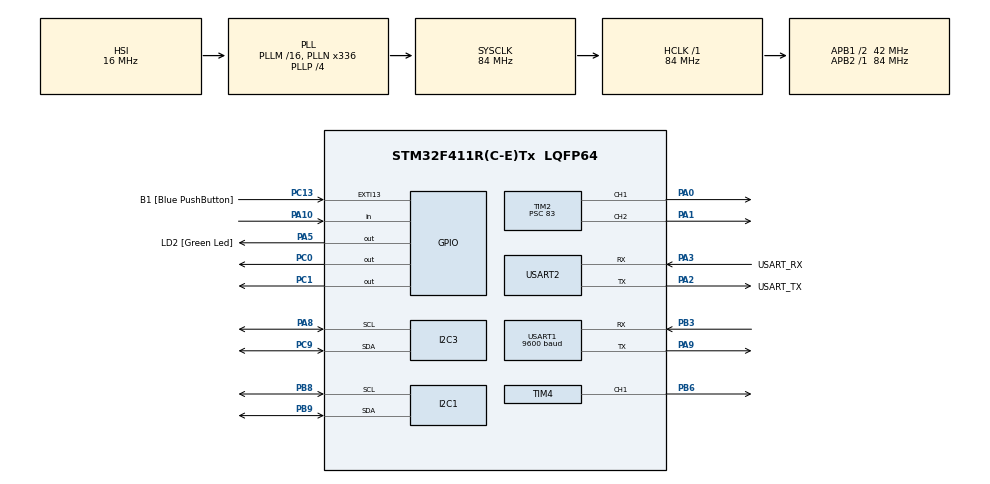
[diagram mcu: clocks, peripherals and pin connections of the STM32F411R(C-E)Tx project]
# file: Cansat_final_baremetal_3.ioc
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Mcu.Family=STM32F4
Mcu.Name=STM32F411R(C-E)Tx
Mcu.Package=LQFP64
NVIC.I2C1_EV_IRQn=true\:0\:0\:false\:false\:true\:true\:true\:true
NVIC.PriorityGroup=NVIC_PRIORITYGROUP_0
NVIC.TIM3_IRQn=true\:0\:0\:false\:false\:true\:true\:true\:true
NVIC.USART1_IRQn=true\:0\:0\:false\:false\:true\:true\:true\:true
PA0-WKUP.Signal=S_TIM2_CH1_ETR
PA1.Signal=S_TIM2_CH2
PA10.Signal=GPIO_Input
PA13.GPIO_Label=TMS
PA13.Mode=Serial_Wire
PA13.Signal=SYS_JTMS-SWDIO
PA14.GPIO_Label=TCK
PA14.Mode=Serial_Wire
PA14.Signal=SYS_JTCK-SWCLK
PA2.GPIO_Label=USART_TX
PA2.Mode=Asynchronous
PA2.Signal=USART2_TX
PA3.GPIO_Label=USART_RX
PA3.Mode=Asynchronous
PA3.Signal=USART2_RX
PA5.GPIO_Label=LD2 [Green Led]
PA5.Signal=GPIO_Output
PA8.Mode=I2C
PA8.Signal=I2C3_SCL
PA9.Mode=Asynchronous
PA9.Signal=USART1_TX
PB3.Mode=Asynchronous
PB3.Signal=USART1_RX
PB6.Signal=S_TIM4_CH1
PB8.Mode=I2C
PB8.Signal=I2C1_SCL
PB9.Mode=I2C
PB9.Signal=I2C1_SDA
PC0.Signal=GPIO_Output
PC1.Signal=GPIO_Output
PC13-ANTI_TAMP.GPIO_Label=B1 [Blue PushButton]
PC13-ANTI_TAMP.GPIO_ModeDefaultEXTI=GPIO_MODE_IT_FALLING
PC13-ANTI_TAMP.Signal=GPXTI13
PC14-OSC32_IN.Mode=LSE-External-Oscillator
PC14-OSC32_IN.Signal=RCC_OSC32_IN
PC15-OSC32_OUT.Mode=LSE-External-Oscillator
PC15-OSC32_OUT.Signal=RCC_OSC32_OUT
PC9.Mode=I2C
PC9.Signal=I2C3_SDA
PH0\ -\ OSC_IN.Mode=HSE-External-Clock-Source
PH0\ -\ OSC_IN.Signal=RCC_OSC_IN
PH1\ -\ OSC_OUT.Mode=HSE-External-Clock-Source
PH1\ -\ OSC_OUT.Signal=RCC_OSC_OUT
ProjectManager.HeapSize=0x200
ProjectManager.StackSize=0x400
ProjectManager.TargetToolchain=STM32CubeIDE
RCC.48MHZClocksFreq_Value=84000000
RCC.AHBFreq_Value=84000000
RCC.APB1CLKDivider=RCC_HCLK_DIV2
RCC.APB1Freq_Value=42000000
RCC.APB1TimFreq_Value=84000000
RCC.APB2Freq_Value=84000000
RCC.APB2TimFreq_Value=84000000
RCC.CortexFreq_Value=84000000
RCC.FLatency-AdvancedSettings=FLASH_LATENCY_2
RCC.HCLKFreq_Value=84000000
RCC.HSE_VALUE=8000000
RCC.HSI_VALUE=16000000
RCC.PLLN=336
RCC.PLLP=RCC_PLLP_DIV4
RCC.SYSCLKFreq_VALUE=84000000
RCC.SYSCLKSource=RCC_SYSCLKSOURCE_PLLCLK
RCC.VCOOutputFreq_Value=336000000
SH.S_TIM2_CH1_ETR.0=TIM2_CH1,PWM Generation1 CH1
SH.S_TIM2_CH2.0=TIM2_CH2,PWM Generation2 CH2
SH.S_TIM4_CH1.0=TIM4_CH1,PWM Generation1 CH1
TIM2.Channel-PWM\ Generation1\ CH1=TIM_CHANNEL_1
TIM2.Channel-PWM\ Generation2\ CH2=TIM_CHANNEL_2
TIM2.Period=9999
TIM2.Prescaler=83
TIM3.Period=20999
TIM3.Prescaler=3999
TIM4.Channel-PWM\ Generation1\ CH1=TIM_CHANNEL_1
TIM4.Period=19999
TIM4.Prescaler=83
USART1.BaudRate=9600
USART1.VirtualMode=VM_ASYNC
USART2.VirtualMode=VM_ASYNC
VP_TIM2_VS_ClockSourceINT.Mode=Internal
VP_TIM3_VS_ClockSourceINT.Mode=Internal
VP_TIM4_VS_ClockSourceINT.Mode=Internal
board=NUCLEO-F411RE

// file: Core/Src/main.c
/* USER CODE BEGIN Header */
/**
  ******************************************************************************
  * @file           : main.c
  * @brief          : Main program body
  ******************************************************************************
  * @attention
  *
  * Copyright (c) 2023 STMicroelectronics.
  * All rights reserved.
  *
  * This software is licensed under terms that can be found in the LICENSE file
  * in the root directory of this software component.
  * If no LICENSE file comes with this software, it is provided AS-IS.
  *
  ******************************************************************************
  */
/* USER CODE END Header */
#include "main.h"
#include "i2c.h"
#include "tim.h"
#include "usart.h"
#include "gpio.h"

/* USER CODE BEGIN Includes */
#include "Const.h"
#include "stdio.h"
#include <math.h>
#include "IMU_10DOF.h"
#include "data.h"
#include "types.h"
#include "servo.h"
#include "gps.h"
#include "pololu_sds01a.h"
#include "compass.h"
#include "stdlib.h"
#include "string.h"
#include "bmp280.h"

/* USER CODE END Includes */

/* USER CODE BEGIN PV */

/******* incrément pour le mouvement *********/

int increment_positionning = 0;

/******* Data structure *******/
TypeDataCansat pDataCansat;
/******************************/

/******* GPS ********/

/*
char uart_gps_rx[1];
char uart_pc_tx[1];
char coordonnees[GPS_TRAME_SIZE];

uint8_t it_rx_gps=0;
int first_data = 0;
int data_rdy = 0;
int i = 0;
*/

char uart_gps_rx[1];
char uart_pc_tx[1];
uint8_t it_rx_gps=0;

char coordonnees[GPS_TRAME_SIZE];
char longitude_data[10];
char latitude_data[10];
char altitude_data[5];
char position[49];
char lat2[2];
char lat7[7];
char long3[3];
char long7[7];
double lata;
double latb;
double latitude;
double longitude;
double altitude;

char satellites[2];

int i = 0;
int k = 0;

int first_data = 0;
int data_rdy = 0;
char uart_tx_buffer[128];
/********************/

/******* flag *******/
int flag_ballon = 0;
/********************/

/******* bmp280 *******/
uint8_t pData_bmp280[32] = {0};
uint8_t pTemp_bmp_280[5] = {0};
uint8_t pPress_bmp280[5] = {0};
uint32_t PressRaw_bmp280 = 0;
uint32_t TempRaw_bmp280 = 0;
int i_bmp280=0;

uint32_t pression_comp[1] = {0};

/********************/

/******* variable d'état *******/
OUTCOME result = FAIL;
TypeState Cansat_state = OFF;
TypeStage Cansat_stage = FLOOR;
/*******************************/

/* USER CODE END PV */

void SystemClock_Config(void);

/* USER CODE BEGIN 0 */

int __io_putchar(int ch) {
HAL_UART_Transmit(&huart2, (uint8_t *)&ch, 1, HAL_MAX_DELAY);
return ch;
}

void HAL_UART_RxCpltCallback(UART_HandleTypeDef *huart){ // fonction de callback de l'UART

	if(huart == &huart1){

		it_rx_gps = 1;
		HAL_UART_Receive_IT(&huart1, (uint8_t *)&uart_gps_rx, 1);

	}

}

/* USER CODE END 0 */

int main(void)
{

  /* MCU Configuration--------------------------------------------------------*/

  /* Reset of all peripherals, Initializes the Flash interface and the Systick. */
  HAL_Init();

  /* Configure the system clock */
  SystemClock_Config();

  /* Initialize all configured peripherals */
  MX_GPIO_Init();
  MX_USART2_UART_Init();
  MX_I2C1_Init();
  MX_TIM2_Init();
  MX_TIM3_Init();
  MX_TIM4_Init();
  MX_USART1_UART_Init();
  MX_I2C3_Init();
  /* USER CODE BEGIN 2 */

  printf("------------------------\r\n");
  printf("------------------------\r\n");
  printf("------------------------\r\n");
  printf("------------------------\r\n");
  printf("initialisation du CanSat\r\n");
  printf("------------------------\r\n");
  printf("------------------------\r\n");
  printf("------------------------\r\n");
  printf("------------------------\r\n");

    int x=0;
    int i=0;
    int Devices[100]={0};

   uint8_t pData[100] = {0};

   /**********                           *********
    * ******** INIT MPU-9250 (IMU_10DOF) *********
    * ********                           *********
    */

   printf("initialisation de l'IMU \r\n \r\n");

   // Initialisation du capteur MPU-9250

   Init(&hi2c1);

   // vérification identité capteur MPU-9250

   pData[0]= WHO_AM_I_MPU9250;
    if(HAL_I2C_Master_Transmit(&hi2c1, MPU_ADD, pData, 1, HAL_MAX_DELAY) != HAL_OK )
    {
  	  printf("il y a une erreur avec I2C Master Transmit \r\n");
  	  result = FAIL;
    }
    if(HAL_I2C_Master_Receive(&hi2c1, MPU_ADD, pData, 1, HAL_MAX_DELAY) != HAL_OK )
    {
  	  printf("il y a une erreur avec I2C Master Receive \r\n");
  	  result = FAIL;
    }

    printf(" L'identifiant du capteur est : %x \r\n", pData[0]);
    if((pData[0] =! 0x71))
    {
  	  printf("ce n'est pas le bon capteur \r\n");
  	  result = FAIL;
    }
    else
    {
  	  printf("MPU-9250 identified \r\n");
  	  result = PASS;
    }

    // vérification identité AK8963C (magnétomètre)

    pData[0]= WHO_AM_I_AK8963;
      if(HAL_I2C_Master_Transmit(&hi2c1, MAGNETO_ADD, pData, 1, HAL_MAX_DELAY) != HAL_OK )
      {
    	  printf("il y a une erreur avec I2C Master Transmit \r\n");
    	  result = FAIL;
      }
      if(HAL_I2C_Master_Receive(&hi2c1, MAGNETO_ADD, pData, 1, HAL_MAX_DELAY) != HAL_OK )
      {
    	  printf("il y a une erreur avec I2C Master Receive \r\n");
    	  result = FAIL;
      }

      printf(" L'identifiant du magnétomètre est : %x \r\n", pData[0]);
      if((pData[0] =! 0x48))
      {
    	  printf("ce n'est pas le bon capteur \r\n  ****** \r\n ****** \r\n ****** \r\n");
    	  result = FAIL;
      }
      else
      {
    	  printf("AK8963C identified \r\n  ****** \r\n ****** \r\n ****** \r\n");
    	  result = PASS;
      }

  // check les périphériques i2c disponibles

    for (i=0;i<256;i++){
         	  if(HAL_I2C_IsDeviceReady(&hi2c1, i, 4, 20)==HAL_OK){
         		  Devices[x]=i;
         		  printf("%d \r\n",Devices[x]);
         		  x=x+1;
         	  }

           }

    /*********** Calibration du magnétomètre *************/
 /*
    printf("debut de la calibration : faire des 8 \r\n");
    HAL_Delay(2000);
    printf("calibration du magnetometre en cours... \r\n");
    Calib_mag(&hi2c1, mag_offset, mag_coeff);
    printf("calibration du magnetometre terminee \r\n *\r\n *\r\n *\r\n");
    HAL_Delay(2000);
 */

    /**********                    *********
     * ******** INITIALISATION GPS *********
     * ********                    *********
     */

    /***********************************************************
    *            entrée des données GPS de la cible
    ***********************************************************/

    //Position GPS cible : 43°13'18.7"N 0°03'10.0"W  --> données telles que décrites dans le règlement 2023

     pDataCansat.GPS.latitude_Target = 45.066664;
     pDataCansat.GPS.longitude_Target = -1.04223;

     /**********                       *********
      * ******** INITIALISATION BMP280 *********
      * ********                       *********
      */

     double Cansat_altitude = 652.0; //altitude du cansat calculée à partir de la pression
     pData_bmp280[0] = REG_ID;

     //SENSOR ADDRESS ACQUISITION

        HAL_I2C_Master_Transmit(&hi2c1, ADDRESS_BMP, pData_bmp280, 1, HAL_MAX_DELAY);
       	HAL_I2C_Master_Receive(&hi2c1, ADDRESS_BMP, pData_bmp280, 1, HAL_MAX_DELAY);

       	if(pData_bmp280[0] == VAL_ID)
       	{
       		printf("%x \r\n", pData_bmp280[0]);
       		printf("bmp280 address valid \r\n");
       	}
       	else
       	{
       		printf("bmp280 bad address \r\n");
       		result = FAIL;
       		//Error_Handler();
       		//allumer la led rouge de l'initialisation loupée
       	}

       	//SENSOR CONFIGURATION

       	  	pData_bmp280[0]=ADDRESS_CTRL_MEAS;
       	  	pData_bmp280[1]=MEASURING_CONFIG;

       	  	if(HAL_I2C_Master_Transmit(&hi2c1, ADDRESS_BMP, pData_bmp280, 2, HAL_MAX_DELAY) != HAL_OK)
       	  	{
       	  		printf("error bmp280 configuration \r\n");
       	  		result = FAIL;
       	  	}
       	  	else
       	  		result = PASS;

    /**********                              *********
     * ******** INITIALISATION Pololu_sds01a *********
     * ********                              *********
     */

    uint16_t gpio_value = 0;
    int Drop_flag = 0; // flag that indicates if the Cansat probe has been launch, in order to begin the missions

    /**********                      		     		  *********
     * ******** INITIALISATION Servos structure gonflable *********
     * ********                       		              *********
     */

    /**********                      		    *********
     * ******** INITIALISATION Servos direction *********
     * ********                       		    *********
     */

    int deploiement_bras_flag = 1;
    int altitude_ouverture_ballons = 15; // altitude à partir de laquelle on démarre l'opération
    									 // d'ouverture de la structure gonflable
    									 // à déterminer expérimentalement --> prendre en compte l'altitude locale
    int altitude_au_sol = 790; // ?? à vérifier

    HAL_TIM_PWM_Start(&htim2, TIM_CHANNEL_1);
    HAL_TIM_PWM_Start(&htim2, TIM_CHANNEL_2);

    HAL_Delay(500);

    // Protocole de test des servos

    //servo droit
    __HAL_TIM_SET_COMPARE(&htim2, TIM_CHANNEL_1, 400);
    HAL_Delay(2000);

    __HAL_TIM_SET_COMPARE(&htim2, TIM_CHANNEL_1, 600);
    HAL_Delay(2000);

    __HAL_TIM_SET_COMPARE(&htim2, TIM_CHANNEL_1, 1000);
    HAL_Delay(2000);

    __HAL_TIM_SET_COMPARE(&htim2, TIM_CHANNEL_1, 1500);
    HAL_Delay(2000);

    //servo gauche
	__HAL_TIM_SET_COMPARE(&htim2, TIM_CHANNEL_2, 2600);
	HAL_Delay(2000);

    __HAL_TIM_SET_COMPARE(&htim2, TIM_CHANNEL_2, 2400);
	HAL_Delay(2000);

	__HAL_TIM_SET_COMPARE(&htim2, TIM_CHANNEL_2, 2000);
	HAL_Delay(2000);

	__HAL_TIM_SET_COMPARE(&htim2, TIM_CHANNEL_2, 1500);
	HAL_Delay(2000);

    //repliement du bras pour pouvoir rentrer dans la capsule de largage
    __HAL_TIM_SET_COMPARE(&htim2, TIM_CHANNEL_2, 1350);
    __HAL_TIM_SET_COMPARE(&htim2, TIM_CHANNEL_1, 1700);

    /************* INITIALISATION TIMER3 *************/ //pour calculer l'angle et déclencher le mouvement des servos toutes les secondes

    int demarrage_tim3 = 1;

    HAL_UART_Receive_IT(&huart1, (uint8_t *)&uart_gps_rx, 1);

    /************* Vérification du bon déroulement de l'initialisation *************/

    // Si l'initialisation est complète, on allume la LED verte
    if(result == PASS)
    {
    	//Activer un GPIO a
    	HAL_GPIO_TogglePin(GPIOC, GPIO_PIN_0);
    }
    // Si l'initialisation a planté, on allume la LED rouge
    if(result == FAIL)
    {
    	//Activer un autre GPIO b
    	HAL_GPIO_TogglePin(GPIOC, GPIO_PIN_1);
    }

  /* USER CODE END 2 */

  /* Infinite loop */
  /* USER CODE BEGIN WHILE */
  while (1)
  {

	  /************** Récupération des données GPS *************/

	  //GPS_data_reading(it_rx_gps, data_rdy, first_data, pDataCansat, coordonnees, uart_gps_rx, i);

	  if(it_rx_gps){
	  	  		if(data_rdy == 1){
	  	  				for(int j = 0; j<=50;j++){
	  	  					position[j] = coordonnees[j+18]; //position[] comprend la latitude et la longitude telles que sur la trame reçue
	  	  					//En effet, les coordonnes sont d'abord de cette forme : "$GNGGA,121933.000,4902.36627,N,00204.31287,E,1,05,13.3,0.0,M,0.0,M,,*4D"
	  	  					//On sélectionne donc la partie qui est après l'identifieur et l'heure mais avant le ",E,".
	  	  				}

	  	  				for(int k = 0; k<=9;k++){
	  	  					latitude_data[k] = position[k+1]; //latitude non convertie
	  	  				}
	  	  				for(int l = 0; l<=10;l++){
	  	  					longitude_data[l] = position[l+14]; //longitude non convertie
	  	  				}
	  	  				for(int h = 0; h<=4; h++){
	  	  					altitude_data[h] = position[h+37]; //altitude non convertie
	  	  				}

	  	  				lat2[0] = latitude_data[0];
	  	  				lat2[1] = latitude_data[1]; //lat2 -> les deux digits avant la virgue du degré de la lat.

	  	  				for(int m = 0; m<=6;m++){
	  	  					lat7[m] = latitude_data[m+2]; //lat 7 -> ce qui reste après la virgule de la lat.
	  	  				}

	  	  				long3[0] = longitude_data[0];
	  	  				long3[1] = longitude_data[1];
	  	  				long3[2] = longitude_data[2]; //long3 -> les trois digits avant la virgule du degré de la long.

	  	  				for(int n = 0; n<=6;n++){
	  	  					long7[n] = longitude_data[n+3]; //long7 -> ce qui reste après la virgule de la long.
	  	  				}

	  	  				float deg_lat = atof(lat2);
	  	  				float reste_lat = atof(lat7); //conversion du char[lat] en float[lat]

	  	  				float deg_long = atof(long3);
	  	  				float reste_long = atof(long7); //conversion du char[long] en float[long]

	  	  				pDataCansat.GPS.latitude_Cansat = deg_lat + (reste_lat/60); //latitude convertie
	  	  				pDataCansat.GPS.longitude_Cansat = deg_long + (reste_long/60); //longitude convertie
	  	  				pDataCansat.GPS.altitude_Cansat = atof(altitude_data);

	  	  				//printf("donnees du GPS : latitude = %f, longitude = %f, altitude = %f, - - - - - - - - GPS \r\n", pDataCansat.GPS.latitude_Cansat, pDataCansat.GPS.longitude_Cansat, pDataCansat.GPS.altitude_Cansat);

	  	  				//nombre de satellites
	  	  				for(int k = 0; k<2;k++){
	  	  				satellites[k] = coordonnees[k+45]; //satellites[] comprend le nombre de stellites que sur la trame reçue
	  	  				}
	  	  		}
	  	  		if(uart_gps_rx[0]==10){
	  	  			//HAL_UART_Transmit(&huart2, "\r\n", 2, HAL_MAX_DELAY); //Arrangement de la trame
	  	  		}
	  	  		else{
	  	  			uart_pc_tx[0]=uart_gps_rx[0];
	  	  			//HAL_UART_Transmit(&huart2, uart_pc_tx, 1, HAL_MAX_DELAY);
	  	  			coordonnees[i] = uart_pc_tx[0]; //On copie ce qui passe dans l'UART dans un tableau coordonnees[i].
	  	  			if(i >= 4){
	  	  				if(strncmp("OK*35",&coordonnees[i-4],5) == 0){
	  	  						i = 0; //Si on trouve "OK", on réinitialise i à 0 pour synchroniser notre trame.
	  	  						if(first_data == 1){
	  	  							data_rdy = 1; //Si la trame est initialisée, le premier caractère du tableau voulu est prêt.
	  	  						}
	  	  						else first_data = 1; //Permet d'enregistrer le tableau désiré.
	  	  					}
	  	  				else{
	  	  						if(i == GPS_TRAME_SIZE-1){
	  	  							i = 0;
	  	  						}
	  	  						else{
	  	  							i++;
	  	  					}

	  	  				}
	  	  			}
	  	  			else i++;
	  	  		}
	  	  	it_rx_gps = 0;
	  	  	}

	  /************** Détection du largage ***************/

	  if( Drop_flag == 0 )
	  {
	  Drop_flag = Drop_detection();
	  }

	  	  	  if(Drop_flag) // largage détecté, démarrage des missions
	  	  	  {

	  	  		if( demarrage_tim3 )
	  	  			  	  		  {
	  	  			  	  			if(HAL_TIM_Base_Start_IT(&htim3) != HAL_OK)
	  	  			  	  			{
	  	  			  	  				//printf("defaut d'initialisation du tim3");    // initialisation du TIM3 pour
	  	  			  	  															  // lancer le programme toutes les secondes
	  	  			  	  				result = FAIL;
	  	  			  	  			}
	  	  			  	  			demarrage_tim3 = 0;
	  	  			  	  		  }

	  	  		  if(increment_positionning)
	  	  		  {

	  	  		 /*************** Deploiement des bras ***************/
	  	  		  if(deploiement_bras_flag){

	  	  			__HAL_TIM_SET_COMPARE(&htim2, TIM_CHANNEL_1, 2600);
	  	  			__HAL_TIM_SET_COMPARE(&htim2, TIM_CHANNEL_2, 400); // on deploie les bras
	  	  			deploiement_bras_flag = 0;
	  	  		  }

	  	  		 /*************** Lecture du champ magnétique terrestre **************/

	  	  		  Measure_M(&hi2c1, pDataCansat.IMU.MagnetometerData.mag_raw, pDataCansat.IMU.MagnetometerData.offset, pDataCansat.IMU.MagnetometerData.offset);
	  	  		  //printf("champ magnetique --- selon x : %f , selon y : %f \r\n", pDataCansat.IMU.MagnetometerData.mag_raw[0], pDataCansat.IMU.MagnetometerData.mag_raw[1]);
	  	  		  HAL_Delay(50);

	  	  		 /*************** Conversion du champ magnétique en degrés **************/

	  	  		  pDataCansat.IMU.MagnetometerData.degree_angle = magnetic_field_to_degree(pDataCansat.IMU.MagnetometerData.mag_raw);

	  	  		 /*************** Calcul du delta theta ***************/

	  	  		  pDataCansat.eCompass.Delta_theta = Delta_theta_calculation(pDataCansat);

	  	  		 /*************** Mise en marche des servos pour corriger la direction **************/

	  	  		  choice_direction_intensity(pDataCansat.eCompass.Delta_theta);

	  	  		 /*************** clignottement LED pour verif ****************/

	  	  		  HAL_GPIO_TogglePin(LD2_GPIO_Port, LD2_Pin);

	  	  		  increment_positionning = 0;
	  	  		  }

	  	  		/*************** Lecture de la pression ****************/

	  	  		//PRESSURE DATA ACQUISITION

	  	  		pData_bmp280[0]=PRESS1;	//Needed to get to the correct pressure register of the sensor
	  	  		HAL_I2C_Master_Transmit(&hi2c1, ADDRESS_BMP, pData_bmp280, 1, HAL_MAX_DELAY);
	  	  		HAL_I2C_Master_Receive(&hi2c1, ADDRESS_BMP, pPress_bmp280, 3, HAL_MAX_DELAY);

	  	  	    // PRESSURE RAW DATA CONVERTION INTO 32 BIT DATA

	  	  		 PressRaw_bmp280 = bmp280_conv_raw(pPress_bmp280);

	  	  		// Calibration data

	  	  		get_calib_param();

	  	  		// computation of the pressure

	  	  		bmp280_get_comp_pres_32bit(pression_comp, PressRaw_bmp280);

	  	  		// computation of the altitude

	  	  	    Cansat_altitude = press_to_altitude(pression_comp[0]);

	  	  	    /*************** Mission 2 ouverture des ballons ***************/

	  	  		  if(Cansat_altitude <= altitude_au_sol + altitude_ouverture_ballons )
	  	  		  {
	  	  			  // fonction d'ouverture des ballons
	  	  			 if(flag_ballon<4)
	  	  			 {
	  	  			 declenchement_structure_gonflable();
	  	  			 HAL_Delay(1000);
	  	  			 flag_ballon++;
	  	  			 }

	  	  			 //HAL_Delay(5000);
	  	  			 // abaissement des bras pour l'atterrissage
	  	  			 /*
	  	  			__HAL_TIM_SET_COMPARE(&htim2, TIM_CHANNEL_2, 1500);
	  	  			__HAL_TIM_SET_COMPARE(&htim2, TIM_CHANNEL_1, 1500);
	  	  			*/

	  	  		  }
	  	  	  }

    /* USER CODE END WHILE */

  }
}

void SystemClock_Config(void)
{
  RCC_OscInitTypeDef RCC_OscInitStruct = {0};
  RCC_ClkInitTypeDef RCC_ClkInitStruct = {0};

  /** Configure the main internal regulator output voltage
  */
  __HAL_RCC_PWR_CLK_ENABLE();
  __HAL_PWR_VOLTAGESCALING_CONFIG(PWR_REGULATOR_VOLTAGE_SCALE1);

  /** Initializes the RCC Oscillators according to the specified parameters
  * in the RCC_OscInitTypeDef structure.
  */
  RCC_OscInitStruct.OscillatorType = RCC_OSCILLATORTYPE_HSI;
  RCC_OscInitStruct.HSIState = RCC_HSI_ON;
  RCC_OscInitStruct.HSICalibrationValue = RCC_HSICALIBRATION_DEFAULT;
  RCC_OscInitStruct.PLL.PLLState = RCC_PLL_ON;
  RCC_OscInitStruct.PLL.PLLSource = RCC_PLLSOURCE_HSI;
  RCC_OscInitStruct.PLL.PLLM = 16;
  RCC_OscInitStruct.PLL.PLLN = 336;
  RCC_OscInitStruct.PLL.PLLP = RCC_PLLP_DIV4;
  RCC_OscInitStruct.PLL.PLLQ = 4;
  if (HAL_RCC_OscConfig(&RCC_OscInitStruct) != HAL_OK)
  {
    Error_Handler();
  }

  /** Initializes the CPU, AHB and APB buses clocks
  */
  RCC_ClkInitStruct.ClockType = RCC_CLOCKTYPE_HCLK|RCC_CLOCKTYPE_SYSCLK
                              |RCC_CLOCKTYPE_PCLK1|RCC_CLOCKTYPE_PCLK2;
  RCC_ClkInitStruct.SYSCLKSource = RCC_SYSCLKSOURCE_PLLCLK;
  RCC_ClkInitStruct.AHBCLKDivider = RCC_SYSCLK_DIV1;
  RCC_ClkInitStruct.APB1CLKDivider = RCC_HCLK_DIV2;
  RCC_ClkInitStruct.APB2CLKDivider = RCC_HCLK_DIV1;

  if (HAL_RCC_ClockConfig(&RCC_ClkInitStruct, FLASH_LATENCY_2) != HAL_OK)
  {
    Error_Handler();
  }
}

void Error_Handler(void)
{
  /* USER CODE BEGIN Error_Handler_Debug */
  /* User can add his own implementation to report the HAL error return state */
  __disable_irq();
  result = FAIL;
  while (1)
  {
	  HAL_GPIO_TogglePin(GPIOC, GPIO_PIN_1);
  }
  /* USER CODE END Error_Handler_Debug */
}
